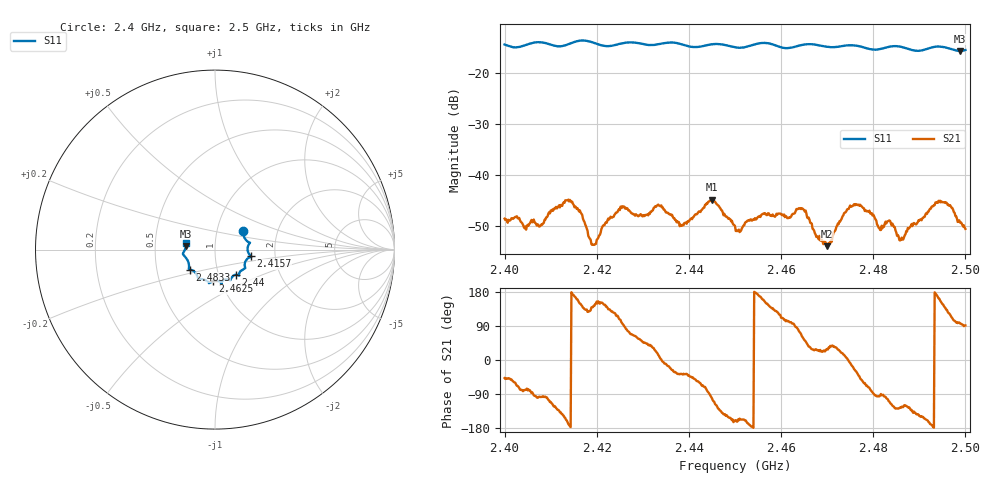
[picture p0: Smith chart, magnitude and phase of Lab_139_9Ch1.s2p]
# Hz S RI R 50
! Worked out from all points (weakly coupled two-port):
!   601 points, 2.4 GHz to 2.5 GHz, reference 50 ohm
!   highest |S21| = -44.89 dB at 2.445 GHz (marker M1); lowest = -54.0 dB at 2.47 GHz (marker M2)
!   lowest |S11| = -15.7 dB at 2.4988 GHz (marker M3), VSWR 1.39, Z = 36 + j1.37 ohm
!   |S11| at or under -10 dB: start of sweep to end of sweep
!   S12 and S22 are empty: the file has one direction only
!   S11 on the Smith chart (normalised r, x): 2.4 GHz: 1.33, +0.29; 2.4157 GHz: 1.49, -0.12; 2.44 GHz: 1.21, -0.35; 2.4625 GHz: 0.92, -0.34; 2.4833 GHz: 0.74, -0.17; 2.5 GHz: 0.72, +0.06
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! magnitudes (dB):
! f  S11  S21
! 2.4 GHz  -14.5  -48.6
! 2.4075 GHz  -14.0  -50.2
! 2.4133 GHz  -14.6  -45.0
! 2.4157 GHz  -13.8  -46.7
! 2.4167 GHz  -13.7  -47.6
! 2.4193 GHz  -14.1  -53.8
! 2.4253 GHz  -14.3  -46.5
! 2.4333 GHz  -14.4  -45.9
! 2.44 GHz  -14.8  -49.2
! 2.445 GHz  -14.4  -44.9
! 2.45 GHz  -15.0  -50.1
! 2.4625 GHz  -15.0  -47.7
! 2.4648 GHz  -14.5  -46.8
! 2.4667 GHz  -14.4  -49.6
! 2.47 GHz  -14.9  -54.0
! 2.4753 GHz  -14.6  -46.2
! 2.4815 GHz  -15.4  -50.8
! 2.4833 GHz  -15.0  -49.1
! 2.4862 GHz  -15.0  -52.3
! 2.4947 GHz  -14.9  -45.4
! 2.4988 GHz  -15.7  -49.4
! 2.5 GHz  -15.6  -50.6
